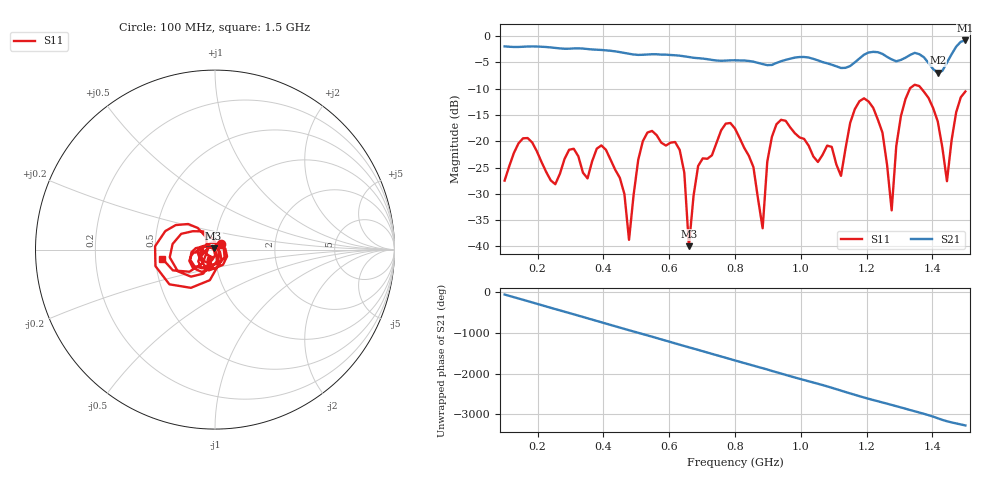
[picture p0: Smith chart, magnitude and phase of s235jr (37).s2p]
! NanoVNA-App
! Date: 2025-09-25 15:04:27
! Start: 100MHz Stop: 1,5GHz Points: 101
! S-Parameter data: F S11 S21 S12 S22
# Hz S RI R 50
!  Frequency  S11_Real  S11_Imag  S21_Real  S21_Imag  S12_Real  S12_Imag  S22_Real  S22_Imag
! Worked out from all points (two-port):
!   101 points, 100 MHz to 1.5 GHz, reference 50 ohm
!   highest |S21| = -0.84 dB at 1.5 GHz (marker M1); lowest = -7.0 dB at 1.416 GHz (marker M2)
!   |S21| within 3 dB of the highest: start of sweep to 644.1 MHz; 1.186 GHz to 1.259 GHz (72.74 MHz wide, 5.95 % of centre) (the widest 2 of 4)
!   lowest |S11| = -39.9 dB at 660 MHz (marker M3), VSWR 1.02, Z = 49.2 + j0.639 ohm
!   |S11| at or under -10 dB: start of sweep to 1.331 GHz; 1.366 GHz to end of sweep
!   S12 and S22 are empty: the file has one direction only
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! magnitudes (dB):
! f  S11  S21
! 100 MHz  -27.5  -2.0
! 156 MHz  -19.4  -2.0
! 338 MHz  -26.0  -2.4
! 408 MHz  -21.6  -2.7
! 478 MHz  -38.7  -3.4
! 520 MHz  -20.0  -3.6
! 576 MHz  -20.3  -3.5
! 632 MHz  -21.7  -3.7
! 660 MHz  -39.9  -4.0
! 688 MHz  -24.7  -4.2
! 800 MHz  -17.6  -4.6
! 884 MHz  -36.5  -5.3
! 926 MHz  -16.8  -5.1
! 1.038 GHz  -22.9  -4.3
! 1.122 GHz  -26.6  -6.1
! 1.192 GHz  -11.8  -3.6
! 1.248 GHz  -18.4  -3.4
! 1.276 GHz  -33.1  -4.4
! 1.332 GHz  -9.9  -3.6
! 1.416 GHz  -16.2  -7.0
! 1.444 GHz  -27.6  -5.1
! 1.5 GHz  -10.5  -0.8
